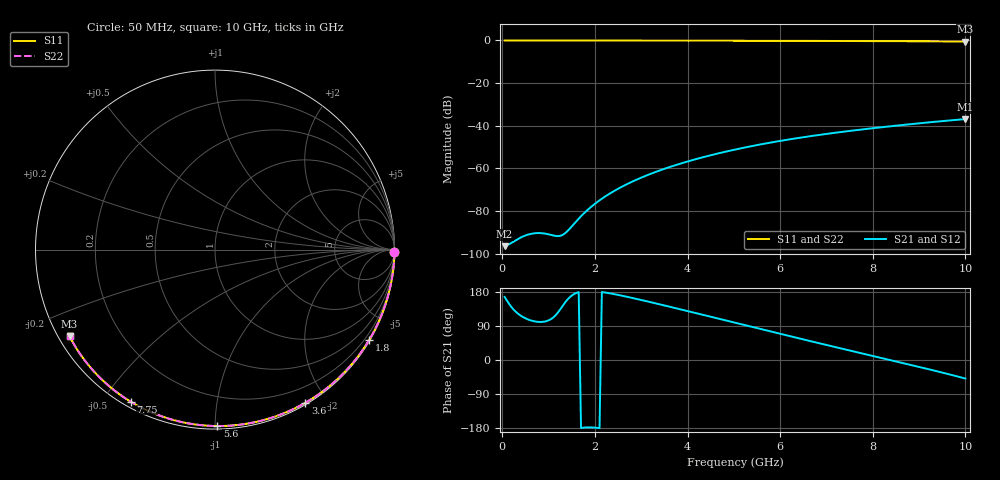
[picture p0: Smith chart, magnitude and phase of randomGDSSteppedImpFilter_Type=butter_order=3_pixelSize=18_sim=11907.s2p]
! freq	dB(S11)	phase(S11)	dB(S12)	phase(S12)
!  dB(S21)	phase(S21)	dB(S22)	phase(S22)
!S-par simulation data
#  GHz  S  DB  R 50
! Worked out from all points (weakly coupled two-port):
!   200 points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, 50 MHz to 10 GHz, reference 50 ohm
!   highest |S21| = -36.88 dB at 10 GHz (marker M1); lowest = -96.5 dB at 50 MHz (marker M2)
!   lowest |S11| = -0.5 dB at 10 GHz (marker M3), VSWR 34.32, Z = 1.57 - j13.8 ohm
!   |S11| at or under -10 dB: nowhere
!   |S22| runs from -0.5 to 0.0 dB; largest |S21 - S12| = 0
!   S11 on the Smith chart (normalised r, x): 50 MHz: open; 1.8 GHz: 0.03, -3.67; 3.6 GHz: 0.02, -1.75; 5.6 GHz: 0.02, -1.01; 7.75 GHz: 0.02, -0.59; 10 GHz: 0.03, -0.28
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0.05  -0.00 -0.9  -96.45 166.6  -96.45 166.6  -0.00 -0.9
0.45  -0.01 -7.7  -91.87 113.1  -91.87 113.1  -0.01 -7.7
0.9  -0.02 -15.4  -90.48 101.1  -90.48 101.1  -0.02 -15.4
1.3  -0.03 -22.1  -91.21 142.2  -91.21 142.2  -0.03 -22.1
1.75  -0.04 -29.6  -81.33 -178.5  -81.33 -178.5  -0.04 -29.6
1.8  -0.04 -30.5  -80.28 -177.9  -80.28 -177.9  -0.04 -30.5
2.15  -0.05 -36.2  -74.20 179.4  -74.20 179.4  -0.05 -36.2
2.3  -0.05 -38.7  -72.06 176.5  -72.06 176.5  -0.05 -38.7
2.5  -0.05 -42.0  -69.53 171.8  -69.53 171.8  -0.05 -42.0
2.9  -0.06 -48.4  -65.27 161.2  -65.27 161.2  -0.06 -48.4
3.4  -0.07 -56.3  -60.95 146.9  -60.95 146.9  -0.07 -56.3
3.6  -0.08 -59.4  -59.45 141.0  -59.45 141.0  -0.08 -59.4
4.3  -0.10 -70.2  -54.94 120.2  -54.94 120.2  -0.10 -70.2
5.05  -0.13 -81.3  -51.04 97.7  -51.04 97.7  -0.13 -81.3
5.6  -0.15 -89.3  -48.65 81.1  -48.65 81.1  -0.15 -89.3
6.15  -0.17 -97.1  -46.56 64.7  -46.56 64.7  -0.17 -97.1
6.7  -0.20 -104.7  -44.73 48.4  -44.73 48.4  -0.20 -104.7
7.2  -0.24 -111.6  -43.25 33.8  -43.25 33.8  -0.24 -111.6
7.75  -0.28 -119.0  -41.77 17.9  -41.77 17.9  -0.28 -119.0
8.35  -0.32 -127.0  -40.31 0.7  -40.31 0.7  -0.32 -127.0
9.2  -0.41 -138.4  -38.43 -24.1  -38.43 -24.1  -0.41 -138.4
10  -0.51 -149.2  -36.88 -48.9  -36.88 -48.9  -0.51 -149.1
